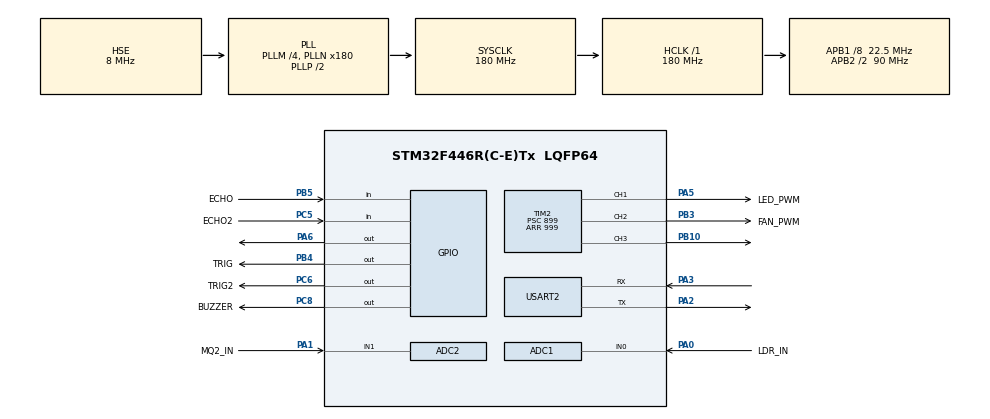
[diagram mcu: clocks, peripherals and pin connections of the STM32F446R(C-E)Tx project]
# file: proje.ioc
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ADC1.Channel-0\#ChannelRegularConversion=ADC_CHANNEL_0
ADC1.NbrOfConversionFlag=1
ADC1.Rank-0\#ChannelRegularConversion=1
ADC1.SamplingTime-0\#ChannelRegularConversion=ADC_SAMPLETIME_15CYCLES
ADC1.master=1
ADC2.Channel-2\#ChannelRegularConversion=ADC_CHANNEL_1
ADC2.NbrOfConversionFlag=1
ADC2.Rank-2\#ChannelRegularConversion=1
ADC2.SamplingTime-2\#ChannelRegularConversion=ADC_SAMPLETIME_3CYCLES
Mcu.Family=STM32F4
Mcu.Name=STM32F446R(C-E)Tx
Mcu.Package=LQFP64
NVIC.ADC_IRQn=true\:0\:0\:false\:false\:true\:true\:true\:true
NVIC.PriorityGroup=NVIC_PRIORITYGROUP_0
NVIC.TIM3_IRQn=true\:0\:0\:false\:false\:true\:true\:true\:true
NVIC.USART2_IRQn=true\:0\:0\:false\:false\:true\:true\:true\:true
PA0-WKUP.GPIO_Label=LDR_IN
PA0-WKUP.Signal=ADCx_IN0
PA1.GPIO_Label=MQ2_IN
PA1.Signal=ADCx_IN1
PA2.Mode=Asynchronous
PA2.Signal=USART2_TX
PA3.Mode=Asynchronous
PA3.Signal=USART2_RX
PA5.GPIO_Label=LED_PWM
PA5.Signal=S_TIM2_CH1_ETR
PA6.Signal=GPIO_Output
PB10.Signal=S_TIM2_CH3
PB3.GPIO_Label=FAN_PWM
PB3.Signal=S_TIM2_CH2
PB4.GPIO_Label=TRIG
PB4.Signal=GPIO_Output
PB5.GPIO_Label=ECHO
PB5.Signal=GPIO_Input
PC5.GPIO_Label=ECHO2
PC5.Signal=GPIO_Input
PC6.GPIO_Label=TRIG2
PC6.Signal=GPIO_Output
PC8.GPIO_Label=BUZZER
PC8.Signal=GPIO_Output
PH0-OSC_IN.Mode=HSE-External-Oscillator
PH0-OSC_IN.Signal=RCC_OSC_IN
PH1-OSC_OUT.Mode=HSE-External-Oscillator
PH1-OSC_OUT.Signal=RCC_OSC_OUT
ProjectManager.HeapSize=0x200
ProjectManager.StackSize=0x400
ProjectManager.TargetToolchain=STM32CubeIDE
RCC.48MHZClocksFreq_Value=84000000
RCC.AHBFreq_Value=180000000
RCC.APB1CLKDivider=RCC_HCLK_DIV8
RCC.APB1Freq_Value=22500000
RCC.APB1TimFreq_Value=45000000
RCC.APB2CLKDivider=RCC_HCLK_DIV2
RCC.APB2Freq_Value=90000000
RCC.APB2TimFreq_Value=180000000
RCC.CortexFreq_Value=180000000
RCC.FLatency-AdvancedSettings=FLASH_LATENCY_5
RCC.HCLKFreq_Value=180000000
RCC.HSE_VALUE=8000000
RCC.HSI_VALUE=16000000
RCC.PLLM=4
RCC.PLLN=180
RCC.PLLSourceVirtual=RCC_PLLSOURCE_HSE
RCC.SYSCLKFreq_VALUE=180000000
RCC.SYSCLKSource=RCC_SYSCLKSOURCE_PLLCLK
RCC.USBFreq_Value=180000000
RCC.VCOOutputFreq_Value=360000000
SH.ADCx_IN0.0=ADC1_IN0,IN0
SH.ADCx_IN1.0=ADC2_IN1,IN1
SH.S_TIM2_CH1_ETR.0=TIM2_CH1,PWM Generation1 CH1
SH.S_TIM2_CH2.0=TIM2_CH2,PWM Generation2 CH2
SH.S_TIM2_CH3.0=TIM2_CH3,PWM Generation3 CH3
TIM2.Channel-PWM\ Generation1\ CH1=TIM_CHANNEL_1
TIM2.Channel-PWM\ Generation2\ CH2=TIM_CHANNEL_2
TIM2.Channel-PWM\ Generation3\ CH3=TIM_CHANNEL_3
TIM2.Period=999
TIM2.Prescaler=899
TIM3.AutoReloadPreload=TIM_AUTORELOAD_PRELOAD_ENABLE
TIM3.Period=4999
TIM3.Prescaler=8999
TIM4.AutoReloadPreload=TIM_AUTORELOAD_PRELOAD_ENABLE
TIM4.Period=0xffff-1
TIM4.Prescaler=45-1
USART2.VirtualMode=VM_ASYNC
VP_TIM3_VS_ClockSourceINT.Mode=Internal
VP_TIM4_VS_ClockSourceINT.Mode=Internal
board=NUCLEO-F446RE

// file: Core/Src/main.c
/* USER CODE BEGIN Header */
/**
  ******************************************************************************
  * @file           : main.c
  * @brief          : Main program body
  ******************************************************************************
  * @attention
  *
  * Copyright (c) 2023 STMicroelectronics.
  * All rights reserved.
  *
  * This software is licensed under terms that can be found in the LICENSE file
  * in the root directory of this software component.
  * If no LICENSE file comes with this software, it is provided AS-IS.
  *
  ******************************************************************************
  */
/* USER CODE END Header */
#include "main.h"

/* USER CODE BEGIN Includes */
#include <stdio.h>
#include <string.h>
/* USER CODE END Includes */

ADC_HandleTypeDef hadc1;
ADC_HandleTypeDef hadc2;

TIM_HandleTypeDef htim2;
TIM_HandleTypeDef htim3;
TIM_HandleTypeDef htim4;

UART_HandleTypeDef huart2;

/* USER CODE BEGIN PV */
uint16_t light_value = 0;
uint16_t water_value = 0;
uint16_t gas_value = 0;
uint16_t rain_value = 0;
uint16_t water_value2 = 0;

char str[50];
uint8_t rxBuffer[50];
uint8_t rxIndex = 0;

uint16_t Buzzer_Time_Value= 0;
uint16_t Servo_Speed_Value = 0;
uint16_t Fan_Speed_Value = 0;
uint16_t Light_Intensity_Value = 0;

uint8_t light_state = 0;
uint8_t water_state = 0;
uint8_t gas_state = 0;
uint8_t live_state = 0;
uint8_t rain_state = 0;

/* USER CODE END PV */

void SystemClock_Config(void);
static void MX_GPIO_Init(void);
static void MX_USART2_UART_Init(void);
static void MX_TIM3_Init(void);
static void MX_ADC1_Init(void);
static void MX_TIM2_Init(void);
static void MX_ADC2_Init(void);
static void MX_TIM4_Init(void);
/* USER CODE BEGIN PFP */

uint16_t Read_LDR(void);
uint16_t Read_MQ2(void);
uint32_t Read_HCSR04(void);
uint16_t Read_YAGMUR(void);
void delay_us(uint16_t us);
/* USER CODE END PFP */

/* USER CODE BEGIN 0 */
void delay_us(uint16_t us)
{
    __HAL_TIM_SET_COUNTER(&htim4, 0);  // Timer'ı sıfırla
    while (__HAL_TIM_GET_COUNTER(&htim4) < us);  // Belirtilen süre kadar bekle
}

uint16_t Read_LDR(void)
{
	HAL_ADC_Start(&hadc1);
	HAL_ADC_PollForConversion(&hadc1, 20);
	light_value = HAL_ADC_GetValue(&hadc1);

	if(light_value < 1000)
	{
		return 1;
	}
	else
	{
		return 0;
	}
}

uint16_t Read_MQ2(void)
{
	HAL_ADC_Start(&hadc2);
	HAL_ADC_PollForConversion(&hadc2, 20);
	gas_value = HAL_ADC_GetValue(&hadc2);

	if(gas_value > 450)
	{
		return 1;
	}
	else
	{
		return 0;
	}
}

uint32_t Read_HCSR04(void)
{
    uint32_t duration = 0;

    // TRIG pini için pulse gönderme
    HAL_GPIO_WritePin(GPIOB, GPIO_PIN_4, GPIO_PIN_RESET);
    delay_us(2);
    HAL_GPIO_WritePin(GPIOB, GPIO_PIN_4, GPIO_PIN_SET);
    delay_us(10);
    HAL_GPIO_WritePin(GPIOB, GPIO_PIN_4, GPIO_PIN_RESET);

    // ECHO pininin yüksek olmasını bekleyerek süreyi ölçme
    uint32_t startTime = 0;
    uint32_t endTime = 0;

    // TIM4 zamanlayıcıyı başlat
    HAL_TIM_Base_Start(&htim4); // Burada htim4 sizin TIM4 yapılandırmanızı ifade etmelidir.

    // ECHO pininin yüksek olmasını bekleyerek süreyi ölçme
    while (HAL_GPIO_ReadPin(GPIOB, GPIO_PIN_5) == GPIO_PIN_RESET);
    startTime = __HAL_TIM_GET_COUNTER(&htim4); // Başlangıç zamanını al

    while (HAL_GPIO_ReadPin(GPIOB, GPIO_PIN_5) == GPIO_PIN_SET);
    endTime = __HAL_TIM_GET_COUNTER(&htim4); // Bitiş zamanını al

    // TIM4 zamanlayıcıyı durdur

    // Süreyi mikrosaniyeye dönüştürme ve mesafeyi hesaplama
    duration = endTime - startTime;
    water_value = 35 - ((duration * 0.0343) / 2);

	if(water_value >= 20)
	{
		return 1;
	}
	else
	{
		return 0;
	}

}

uint16_t Read_Live(uint16_t water_value)
{
    uint32_t duration = 0;

    // TRIG pini için pulse gönderme
    HAL_GPIO_WritePin(GPIOC, GPIO_PIN_6, GPIO_PIN_RESET);
    delay_us(2);
    HAL_GPIO_WritePin(GPIOC, GPIO_PIN_6, GPIO_PIN_SET);
    delay_us(10);
    HAL_GPIO_WritePin(GPIOC, GPIO_PIN_6, GPIO_PIN_RESET);

    // ECHO pininin yüksek olmasını bekleyerek süreyi ölçme
    uint32_t startTime = 0;
    uint32_t endTime = 0;

    // TIM4 zamanlayıcıyı başlat
    HAL_TIM_Base_Start(&htim4); // Burada htim4 sizin TIM4 yapılandırmanızı ifade etmelidir.

    // ECHO pininin yüksek olmasını bekleyerek süreyi ölçme
    while (HAL_GPIO_ReadPin(GPIOC, GPIO_PIN_5) == GPIO_PIN_RESET);
    startTime = __HAL_TIM_GET_COUNTER(&htim4); // Başlangıç zamanını al

    while (HAL_GPIO_ReadPin(GPIOC, GPIO_PIN_5) == GPIO_PIN_SET);
    endTime = __HAL_TIM_GET_COUNTER(&htim4); // Bitiş zamanını al

    // TIM4 zamanlayıcıyı durdur

    // Süreyi mikrosaniyeye dönüştürme ve mesafeyi hesaplama
    duration = endTime - startTime;
    water_value2 = 35 - ((duration * 0.0343) / 2);

	if(water_value2 - water_value > 5)
	{
		return 1;
	}
	else
	{
		return 0;
	}
}

/* USER CODE END 0 */

int main(void)
{

  /* MCU Configuration--------------------------------------------------------*/

  /* Reset of all peripherals, Initializes the Flash interface and the Systick. */
  HAL_Init();

  /* Configure the system clock */
  SystemClock_Config();

  /* Initialize all configured peripherals */
  MX_GPIO_Init();
  MX_USART2_UART_Init();
  MX_TIM3_Init();
  MX_ADC1_Init();
  MX_TIM2_Init();
  MX_ADC2_Init();
  MX_TIM4_Init();
  /* USER CODE BEGIN 2 */
  HAL_TIM_Base_Start(&htim4);
  HAL_TIM_Base_Start_IT(&htim3);
  HAL_ADC_Start_IT(&hadc1);
  HAL_ADC_Start_IT(&hadc2);

  //HAL_ADC_Start_IT(&hadc3);
  HAL_TIM_PWM_Start(&htim2, TIM_CHANNEL_1);
  HAL_TIM_PWM_Start(&htim2, TIM_CHANNEL_2);
  HAL_TIM_PWM_Start(&htim2, TIM_CHANNEL_3);
  HAL_UART_Receive_IT(&huart2, rxBuffer, 50);
  /* USER CODE END 2 */

  /* Infinite loop */
  while (1)
  {

    /* USER CODE BEGIN 3 */

	  if(light_state == 1)
	  {

		  	  HAL_GPIO_WritePin(GPIOA, GPIO_PIN_6, GPIO_PIN_SET);
			  __HAL_TIM_SET_COMPARE(&htim2, TIM_CHANNEL_1, Light_Intensity_Value);

	  }

	  else if(gas_state == 1)
	  {

		  __HAL_TIM_SET_COMPARE(&htim2, TIM_CHANNEL_2, Fan_Speed_Value);

	  }
	  else if(live_state == 1)
	  {
		  if(Buzzer_Time_Value == 0)
		  {
			  HAL_GPIO_WritePin(GPIOC, GPIO_PIN_8, GPIO_PIN_RESET);
		  }

		  else
		  {
			  HAL_GPIO_WritePin(GPIOC, GPIO_PIN_8, GPIO_PIN_SET);
			  HAL_Delay(Buzzer_Time_Value);
			  HAL_GPIO_WritePin(GPIOC, GPIO_PIN_8, GPIO_PIN_RESET);
			  HAL_Delay(2000);
			  HAL_GPIO_WritePin(GPIOC, GPIO_PIN_8, GPIO_PIN_SET);
			  HAL_Delay(Buzzer_Time_Value);
			  HAL_GPIO_WritePin(GPIOC, GPIO_PIN_8, GPIO_PIN_RESET);
		  }

	  }

	  else if(water_state == 1)
	  {
		  if(Servo_Speed_Value == 30)
		  {
			  htim2.Instance-> CCR3 = 25;
		  }

		  else
		  {
			  HAL_Delay(2000);
			  for(int i = 25; i <= 125; i++)
			  {
				  htim2.Instance-> CCR3 = i;
				  HAL_Delay(Servo_Speed_Value);
			  }

			  HAL_Delay(8000);

			  HAL_Delay(2000);
			  for(int i = 125; i >= 25; i--)
			  {
				  htim2.Instance-> CCR3 = i;
				  HAL_Delay(Servo_Speed_Value);
			  }
		  }

	  }

	  else
	  {

		  __HAL_TIM_SET_COMPARE(&htim2, TIM_CHANNEL_1, 0);
 		  __HAL_TIM_SET_COMPARE(&htim2, TIM_CHANNEL_2, 2500);
 		 HAL_GPIO_WritePin(GPIOC, GPIO_PIN_8, GPIO_PIN_RESET);
 		 htim2.Instance-> CCR3 = 25;
	  }

  }
  /* USER CODE END 3 */
}

void SystemClock_Config(void)
{
  RCC_OscInitTypeDef RCC_OscInitStruct = {0};
  RCC_ClkInitTypeDef RCC_ClkInitStruct = {0};

  /** Configure the main internal regulator output voltage
  */
  __HAL_RCC_PWR_CLK_ENABLE();
  __HAL_PWR_VOLTAGESCALING_CONFIG(PWR_REGULATOR_VOLTAGE_SCALE1);

  /** Initializes the RCC Oscillators according to the specified parameters
  * in the RCC_OscInitTypeDef structure.
  */
  RCC_OscInitStruct.OscillatorType = RCC_OSCILLATORTYPE_HSE;
  RCC_OscInitStruct.HSEState = RCC_HSE_ON;
  RCC_OscInitStruct.PLL.PLLState = RCC_PLL_ON;
  RCC_OscInitStruct.PLL.PLLSource = RCC_PLLSOURCE_HSE;
  RCC_OscInitStruct.PLL.PLLM = 4;
  RCC_OscInitStruct.PLL.PLLN = 180;
  RCC_OscInitStruct.PLL.PLLP = RCC_PLLP_DIV2;
  RCC_OscInitStruct.PLL.PLLQ = 2;
  RCC_OscInitStruct.PLL.PLLR = 2;
  if (HAL_RCC_OscConfig(&RCC_OscInitStruct) != HAL_OK)
  {
    Error_Handler();
  }

  /** Activate the Over-Drive mode
  */
  if (HAL_PWREx_EnableOverDrive() != HAL_OK)
  {
    Error_Handler();
  }

  /** Initializes the CPU, AHB and APB buses clocks
  */
  RCC_ClkInitStruct.ClockType = RCC_CLOCKTYPE_HCLK|RCC_CLOCKTYPE_SYSCLK
                              |RCC_CLOCKTYPE_PCLK1|RCC_CLOCKTYPE_PCLK2;
  RCC_ClkInitStruct.SYSCLKSource = RCC_SYSCLKSOURCE_PLLCLK;
  RCC_ClkInitStruct.AHBCLKDivider = RCC_SYSCLK_DIV1;
  RCC_ClkInitStruct.APB1CLKDivider = RCC_HCLK_DIV8;
  RCC_ClkInitStruct.APB2CLKDivider = RCC_HCLK_DIV2;

  if (HAL_RCC_ClockConfig(&RCC_ClkInitStruct, FLASH_LATENCY_5) != HAL_OK)
  {
    Error_Handler();
  }
}

static void MX_ADC1_Init(void)
{

  ADC_ChannelConfTypeDef sConfig = {0};

  /** Configure the global features of the ADC (Clock, Resolution, Data Alignment and number of conversion)
  */
  hadc1.Instance = ADC1;
  hadc1.Init.ClockPrescaler = ADC_CLOCK_SYNC_PCLK_DIV4;
  hadc1.Init.Resolution = ADC_RESOLUTION_12B;
  hadc1.Init.ScanConvMode = DISABLE;
  hadc1.Init.ContinuousConvMode = DISABLE;
  hadc1.Init.DiscontinuousConvMode = DISABLE;
  hadc1.Init.ExternalTrigConvEdge = ADC_EXTERNALTRIGCONVEDGE_NONE;
  hadc1.Init.ExternalTrigConv = ADC_SOFTWARE_START;
  hadc1.Init.DataAlign = ADC_DATAALIGN_RIGHT;
  hadc1.Init.NbrOfConversion = 1;
  hadc1.Init.DMAContinuousRequests = DISABLE;
  hadc1.Init.EOCSelection = ADC_EOC_SINGLE_CONV;
  if (HAL_ADC_Init(&hadc1) != HAL_OK)
  {
    Error_Handler();
  }

  /** Configure for the selected ADC regular channel its corresponding rank in the sequencer and its sample time.
  */
  sConfig.Channel = ADC_CHANNEL_0;
  sConfig.Rank = 1;
  sConfig.SamplingTime = ADC_SAMPLETIME_15CYCLES;
  if (HAL_ADC_ConfigChannel(&hadc1, &sConfig) != HAL_OK)
  {
    Error_Handler();
  }

}

static void MX_ADC2_Init(void)
{

  ADC_ChannelConfTypeDef sConfig = {0};

  /** Configure the global features of the ADC (Clock, Resolution, Data Alignment and number of conversion)
  */
  hadc2.Instance = ADC2;
  hadc2.Init.ClockPrescaler = ADC_CLOCK_SYNC_PCLK_DIV4;
  hadc2.Init.Resolution = ADC_RESOLUTION_12B;
  hadc2.Init.ScanConvMode = DISABLE;
  hadc2.Init.ContinuousConvMode = DISABLE;
  hadc2.Init.DiscontinuousConvMode = DISABLE;
  hadc2.Init.ExternalTrigConvEdge = ADC_EXTERNALTRIGCONVEDGE_NONE;
  hadc2.Init.ExternalTrigConv = ADC_SOFTWARE_START;
  hadc2.Init.DataAlign = ADC_DATAALIGN_RIGHT;
  hadc2.Init.NbrOfConversion = 1;
  hadc2.Init.DMAContinuousRequests = DISABLE;
  hadc2.Init.EOCSelection = ADC_EOC_SINGLE_CONV;
  if (HAL_ADC_Init(&hadc2) != HAL_OK)
  {
    Error_Handler();
  }

  /** Configure for the selected ADC regular channel its corresponding rank in the sequencer and its sample time.
  */
  sConfig.Channel = ADC_CHANNEL_1;
  sConfig.Rank = 1;
  sConfig.SamplingTime = ADC_SAMPLETIME_3CYCLES;
  if (HAL_ADC_ConfigChannel(&hadc2, &sConfig) != HAL_OK)
  {
    Error_Handler();
  }

}

static void MX_TIM2_Init(void)
{

  TIM_MasterConfigTypeDef sMasterConfig = {0};
  TIM_OC_InitTypeDef sConfigOC = {0};

  htim2.Instance = TIM2;
  htim2.Init.Prescaler = 899;
  htim2.Init.CounterMode = TIM_COUNTERMODE_UP;
  htim2.Init.Period = 999;
  htim2.Init.ClockDivision = TIM_CLOCKDIVISION_DIV1;
  htim2.Init.AutoReloadPreload = TIM_AUTORELOAD_PRELOAD_DISABLE;
  if (HAL_TIM_PWM_Init(&htim2) != HAL_OK)
  {
    Error_Handler();
  }
  sMasterConfig.MasterOutputTrigger = TIM_TRGO_RESET;
  sMasterConfig.MasterSlaveMode = TIM_MASTERSLAVEMODE_DISABLE;
  if (HAL_TIMEx_MasterConfigSynchronization(&htim2, &sMasterConfig) != HAL_OK)
  {
    Error_Handler();
  }
  sConfigOC.OCMode = TIM_OCMODE_PWM1;
  sConfigOC.Pulse = 0;
  sConfigOC.OCPolarity = TIM_OCPOLARITY_HIGH;
  sConfigOC.OCFastMode = TIM_OCFAST_DISABLE;
  if (HAL_TIM_PWM_ConfigChannel(&htim2, &sConfigOC, TIM_CHANNEL_1) != HAL_OK)
  {
    Error_Handler();
  }
  if (HAL_TIM_PWM_ConfigChannel(&htim2, &sConfigOC, TIM_CHANNEL_2) != HAL_OK)
  {
    Error_Handler();
  }
  if (HAL_TIM_PWM_ConfigChannel(&htim2, &sConfigOC, TIM_CHANNEL_3) != HAL_OK)
  {
    Error_Handler();
  }
  HAL_TIM_MspPostInit(&htim2);

}

static void MX_TIM3_Init(void)
{

  TIM_ClockConfigTypeDef sClockSourceConfig = {0};
  TIM_MasterConfigTypeDef sMasterConfig = {0};

  htim3.Instance = TIM3;
  htim3.Init.Prescaler = 8999;
  htim3.Init.CounterMode = TIM_COUNTERMODE_UP;
  htim3.Init.Period = 4999;
  htim3.Init.ClockDivision = TIM_CLOCKDIVISION_DIV1;
  htim3.Init.AutoReloadPreload = TIM_AUTORELOAD_PRELOAD_ENABLE;
  if (HAL_TIM_Base_Init(&htim3) != HAL_OK)
  {
    Error_Handler();
  }
  sClockSourceConfig.ClockSource = TIM_CLOCKSOURCE_INTERNAL;
  if (HAL_TIM_ConfigClockSource(&htim3, &sClockSourceConfig) != HAL_OK)
  {
    Error_Handler();
  }
  sMasterConfig.MasterOutputTrigger = TIM_TRGO_RESET;
  sMasterConfig.MasterSlaveMode = TIM_MASTERSLAVEMODE_DISABLE;
  if (HAL_TIMEx_MasterConfigSynchronization(&htim3, &sMasterConfig) != HAL_OK)
  {
    Error_Handler();
  }

}

static void MX_TIM4_Init(void)
{

  TIM_ClockConfigTypeDef sClockSourceConfig = {0};
  TIM_MasterConfigTypeDef sMasterConfig = {0};

  htim4.Instance = TIM4;
  htim4.Init.Prescaler = 45-1;
  htim4.Init.CounterMode = TIM_COUNTERMODE_UP;
  htim4.Init.Period = 0xffff-1;
  htim4.Init.ClockDivision = TIM_CLOCKDIVISION_DIV1;
  htim4.Init.AutoReloadPreload = TIM_AUTORELOAD_PRELOAD_ENABLE;
  if (HAL_TIM_Base_Init(&htim4) != HAL_OK)
  {
    Error_Handler();
  }
  sClockSourceConfig.ClockSource = TIM_CLOCKSOURCE_INTERNAL;
  if (HAL_TIM_ConfigClockSource(&htim4, &sClockSourceConfig) != HAL_OK)
  {
    Error_Handler();
  }
  sMasterConfig.MasterOutputTrigger = TIM_TRGO_RESET;
  sMasterConfig.MasterSlaveMode = TIM_MASTERSLAVEMODE_DISABLE;
  if (HAL_TIMEx_MasterConfigSynchronization(&htim4, &sMasterConfig) != HAL_OK)
  {
    Error_Handler();
  }

}

static void MX_USART2_UART_Init(void)
{

  huart2.Instance = USART2;
  huart2.Init.BaudRate = 115200;
  huart2.Init.WordLength = UART_WORDLENGTH_8B;
  huart2.Init.StopBits = UART_STOPBITS_1;
  huart2.Init.Parity = UART_PARITY_NONE;
  huart2.Init.Mode = UART_MODE_TX_RX;
  huart2.Init.HwFlowCtl = UART_HWCONTROL_NONE;
  huart2.Init.OverSampling = UART_OVERSAMPLING_16;
  if (HAL_UART_Init(&huart2) != HAL_OK)
  {
    Error_Handler();
  }

}

static void MX_GPIO_Init(void)
{
  GPIO_InitTypeDef GPIO_InitStruct = {0};

  /* GPIO Ports Clock Enable */
  __HAL_RCC_GPIOH_CLK_ENABLE();
  __HAL_RCC_GPIOA_CLK_ENABLE();
  __HAL_RCC_GPIOC_CLK_ENABLE();
  __HAL_RCC_GPIOB_CLK_ENABLE();

  /*Configure GPIO pin Output Level */
  HAL_GPIO_WritePin(GPIOA, GPIO_PIN_6, GPIO_PIN_RESET);

  /*Configure GPIO pin Output Level */
  HAL_GPIO_WritePin(GPIOC, TRIG2_Pin|BUZZER_Pin, GPIO_PIN_RESET);

  /*Configure GPIO pin Output Level */
  HAL_GPIO_WritePin(TRIG_GPIO_Port, TRIG_Pin, GPIO_PIN_RESET);

  /*Configure GPIO pin : PA6 */
  GPIO_InitStruct.Pin = GPIO_PIN_6;
  GPIO_InitStruct.Mode = GPIO_MODE_OUTPUT_PP;
  GPIO_InitStruct.Pull = GPIO_NOPULL;
  GPIO_InitStruct.Speed = GPIO_SPEED_FREQ_LOW;
  HAL_GPIO_Init(GPIOA, &GPIO_InitStruct);

  /*Configure GPIO pin : ECHO2_Pin */
  GPIO_InitStruct.Pin = ECHO2_Pin;
  GPIO_InitStruct.Mode = GPIO_MODE_INPUT;
  GPIO_InitStruct.Pull = GPIO_NOPULL;
  HAL_GPIO_Init(ECHO2_GPIO_Port, &GPIO_InitStruct);

  /*Configure GPIO pins : TRIG2_Pin BUZZER_Pin */
  GPIO_InitStruct.Pin = TRIG2_Pin|BUZZER_Pin;
  GPIO_InitStruct.Mode = GPIO_MODE_OUTPUT_PP;
  GPIO_InitStruct.Pull = GPIO_NOPULL;
  GPIO_InitStruct.Speed = GPIO_SPEED_FREQ_LOW;
  HAL_GPIO_Init(GPIOC, &GPIO_InitStruct);

  /*Configure GPIO pin : TRIG_Pin */
  GPIO_InitStruct.Pin = TRIG_Pin;
  GPIO_InitStruct.Mode = GPIO_MODE_OUTPUT_PP;
  GPIO_InitStruct.Pull = GPIO_NOPULL;
  GPIO_InitStruct.Speed = GPIO_SPEED_FREQ_LOW;
  HAL_GPIO_Init(TRIG_GPIO_Port, &GPIO_InitStruct);

  /*Configure GPIO pin : ECHO_Pin */
  GPIO_InitStruct.Pin = ECHO_Pin;
  GPIO_InitStruct.Mode = GPIO_MODE_INPUT;
  GPIO_InitStruct.Pull = GPIO_NOPULL;
  HAL_GPIO_Init(ECHO_GPIO_Port, &GPIO_InitStruct);

}

void Error_Handler(void)
{
  __disable_irq();
  while (1)
  {
  }
}
